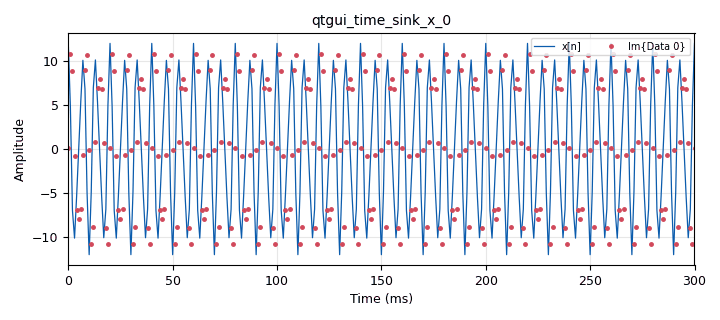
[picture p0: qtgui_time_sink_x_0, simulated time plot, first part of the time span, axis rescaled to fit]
options:
  parameters:
    generate_options: qt_gui
    id: Ejercicio_2
    output_language: python
    title: Not titled yet
  states: {}

blocks:
- name: samp_rate
  id: variable
  parameters:
    value: '32000'
  states: {}
- name: analog_sig_source_x_0
  id: analog_sig_source_x
  parameters:
    amp: '10'
    freq: '150'
    offset: '0'
    phase: '0'
    samp_rate: '1000'
    type: complex
    waveform: analog.GR_COS_WAVE
  states: {}
- name: analog_sig_source_x_1
  id: analog_sig_source_x
  parameters:
    amp: '3'
    freq: '250'
    offset: '0'
    phase: '0'
    samp_rate: '1000'
    type: complex
    waveform: analog.GR_COS_WAVE
  states: {}
- name: analog_sig_source_x_2
  id: analog_sig_source_x
  parameters:
    amp: '-1'
    freq: '50'
    offset: '0'
    phase: '0'
    samp_rate: '1000'
    type: complex
    waveform: analog.GR_COS_WAVE
  states: {}
- name: blocks_add_xx_0
  id: blocks_add_xx
  parameters:
    type: complex
  states: {}
- name: blocks_add_xx_1
  id: blocks_add_xx
  parameters:
    type: complex
  states: {}
- name: blocks_throttle2_0
  id: blocks_throttle2
  parameters:
    samples_per_second: '1000'
    type: complex
  states: {}
- name: qtgui_time_sink_x_0
  id: qtgui_time_sink_x
  parameters:
    label1: x[n]
    size: '1000'
    srate: '1000'
    style2: '0'
    type: complex
  states: {}

connections:
- [analog_sig_source_x_0, '0', blocks_add_xx_0, '1']
- [analog_sig_source_x_1, '0', blocks_add_xx_0, '0']
- [analog_sig_source_x_2, '0', blocks_add_xx_1, '1']
- [blocks_add_xx_0, '0', blocks_add_xx_1, '0']
- [blocks_add_xx_1, '0', blocks_throttle2_0, '0']
- [blocks_throttle2_0, '0', qtgui_time_sink_x_0, '0']

metadata:
  file_format: 1
  grc_version: 3.10.12.0
